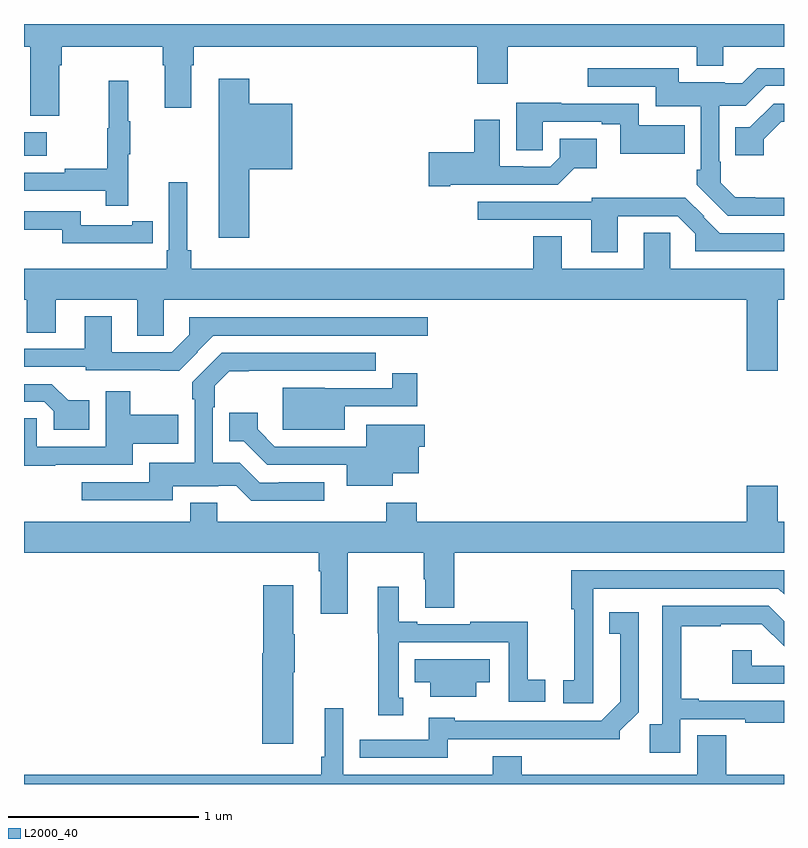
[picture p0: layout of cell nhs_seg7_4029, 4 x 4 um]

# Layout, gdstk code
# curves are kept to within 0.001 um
import gdstk
lib = gdstk.Library(unit=1e-6, precision=1e-09)
def R(c, l, rs):  # rectangles x0, y0, x1, y1
    for r in rs: c.add(gdstk.rectangle(r[:2], r[2:], *l))
def P(c, l, *ps):  # polygons
    for p in ps: c.add(gdstk.Polygon(p, *l))
L2000_40 = (2000, 40)

nhs_seg7_4029 = lib.new_cell('nhs_seg7_4029')
R(nhs_seg7_4029, L2000_40, [(365,1069.307,365.119,1069.429)])
P(nhs_seg7_4029, L2000_40, [(365.185,1069.784),(365.198,1069.784),(365.198,1069.88),(365.729,1069.88),(365.729,1069.784),(365.741,1069.784),(365.741,1069.56),(365.881,1069.56),(365.881,1069.784),(365.894,1069.784),(365.894,1069.88),(367.385,1069.88),(367.385,1069.686),(367.545,1069.686),(367.545,1069.88),(368.54,1069.88),(368.54,1069.781),(368.68,1069.781),(368.68,1069.88),(369,1069.88),(369,1070),(365,1070),(365,1069.88),(365.033,1069.88),(365.033,1069.518),(365.185,1069.518)],
  [(369,1069.086),(368.848,1069.086),(368.848,1069.089),(368.744,1069.089),(368.668,1069.164),(368.668,1069.276),(368.658,1069.276),(368.658,1069.569),(368.799,1069.569),(368.904,1069.674),(369,1069.674),(369,1069.768),(368.86,1069.768),(368.781,1069.689),(368.687,1069.689),(368.687,1069.693),(368.446,1069.693),(368.446,1069.767),(367.968,1069.767),(367.968,1069.671),(368.324,1069.671),(368.324,1069.568),(368.562,1069.568),(368.562,1069.234),(368.542,1069.234),(368.542,1069.153),(368.705,1068.99),(369,1068.99)],
  [(366.185,1069.235),(366.412,1069.235),(366.412,1069.579),(366.185,1069.579),(366.185,1069.711),(366.026,1069.711),(366.026,1068.876),(366.185,1068.876)],
  [(365.549,1069.315),(365.56,1069.315),(365.56,1069.489),(365.549,1069.489),(365.549,1069.702),(365.446,1069.702),(365.446,1069.452),(365.439,1069.452),(365.439,1069.238),(365.215,1069.238),(365.215,1069.218),(365,1069.218),(365,1069.122),(365.431,1069.122),(365.431,1069.044),(365.549,1069.044)],
  [(368.477,1069.468),(368.235,1069.468),(368.235,1069.581),(367.828,1069.581),(367.828,1069.586),(367.592,1069.586),(367.592,1069.336),(367.731,1069.336),(367.731,1069.485),(368.042,1069.485),(368.042,1069.473),(368.139,1069.473),(368.139,1069.316),(368.477,1069.316)],
  [(368.893,1069.393),(368.985,1069.485),(369,1069.485),(369,1069.581),(368.945,1069.581),(368.82,1069.456),(368.743,1069.456),(368.743,1069.308),(368.893,1069.308)],
  [(367.243,1069.155),(367.81,1069.155),(367.896,1069.241),(368.014,1069.241),(368.014,1069.396),(367.821,1069.396),(367.821,1069.299),(367.77,1069.248),(367.628,1069.248),(367.628,1069.251),(367.504,1069.251),(367.504,1069.495),(367.37,1069.495),(367.37,1069.325),(367.131,1069.325),(367.131,1069.147),(367.243,1069.147)],
  [(368.968,1068.548),(369,1068.548),(369,1068.712),(368.4,1068.712),(368.4,1068.902),(368.261,1068.902),(368.261,1068.712),(367.831,1068.712),(367.831,1068.884),(367.679,1068.884),(367.679,1068.712),(365.879,1068.712),(365.879,1068.808),(365.86,1068.808),(365.86,1069.168),(365.763,1069.168),(365.763,1068.808),(365.75,1068.808),(365.75,1068.712),(365,1068.712),(365,1068.548),(365.015,1068.548),(365.015,1068.376),(365.167,1068.376),(365.167,1068.548),(365.597,1068.548),(365.597,1068.358),(365.736,1068.358),(365.736,1068.548),(368.804,1068.548),(368.804,1068.174),(368.968,1068.174)],
  [(368.125,1068.987),(368.442,1068.987),(368.533,1068.897),(368.533,1068.804),(369,1068.804),(369,1068.9),(368.661,1068.9),(368.576,1068.985),(368.579,1068.988),(368.481,1069.086),(367.989,1069.086),(367.989,1069.065),(367.389,1069.065),(367.389,1068.969),(367.985,1068.969),(367.985,1068.798),(368.125,1068.798)],
  [(365.57,1068.846),(365.678,1068.846),(365.678,1068.962),(365.57,1068.962),(365.57,1068.942),(365.298,1068.942),(365.298,1069.014),(365,1069.014),(365,1068.918),(365.202,1068.918),(365.202,1068.845),(365.57,1068.845)],
  [(365.915,1068.272),(365.912,1068.275),(365.997,1068.36),(367.126,1068.36),(367.126,1068.456),(365.869,1068.456),(365.869,1068.364),(365.778,1068.273),(365.461,1068.273),(365.461,1068.463),(365.321,1068.463),(365.321,1068.291),(365,1068.291),(365,1068.195),(365.325,1068.195),(365.325,1068.177),(365.717,1068.177),(365.717,1068.175),(365.817,1068.175)],
  [(366.58,1067.589),(366.34,1067.589),(366.34,1067.586),(366.24,1067.586),(366.135,1067.691),(365.994,1067.691),(365.994,1067.984),(366.004,1067.984),(366.004,1068.096),(366.08,1068.172),(366.184,1068.172),(366.184,1068.174),(366.85,1068.174),(366.85,1068.27),(366.041,1068.27),(365.886,1068.115),(365.886,1068.026),(365.898,1068.026),(365.898,1067.692),(365.66,1067.692),(365.66,1067.589),(365.304,1067.589),(365.304,1067.493),(365.782,1067.493),(365.782,1067.567),(366.023,1067.567),(366.023,1067.571),(366.117,1067.571),(366.196,1067.492),(366.58,1067.492)],
  [(366.688,1067.988),(367.069,1067.988),(367.069,1068.163),(366.938,1068.163),(366.938,1068.084),(366.584,1068.084),(366.584,1068.085),(366.362,1068.085),(366.362,1067.864),(366.688,1067.864)],
  [(365.344,1068.019),(365.232,1068.019),(365.146,1068.105),(365,1068.105),(365,1068.012),(365.106,1068.012),(365.157,1067.961),(365.157,1067.864),(365.344,1067.864)],
  [(365.164,1067.679),(365.572,1067.679),(365.572,1067.792),(365.813,1067.792),(365.813,1067.944),(365.559,1067.944),(365.559,1068.067),(365.429,1068.067),(365.429,1067.775),(365.067,1067.775),(365.067,1067.924),(365,1067.924),(365,1067.674),(365.164,1067.674)],
  [(366.94,1067.636),(367.078,1067.636),(367.078,1067.776),(367.108,1067.776),(367.108,1067.89),(366.8,1067.89),(366.8,1067.775),(366.321,1067.775),(366.229,1067.867),(366.229,1067.953),(366.079,1067.953),(366.079,1067.804),(366.156,1067.804),(366.281,1067.679),(366.698,1067.679),(366.698,1067.57),(366.94,1067.57)],
  [(366.703,1067.216),(367.105,1067.216),(367.105,1067.078),(367.112,1067.078),(367.112,1066.927),(367.265,1066.927),(367.265,1067.216),(369,1067.216),(369,1067.38),(368.968,1067.38),(368.968,1067.569),(368.804,1067.569),(368.804,1067.38),(367.067,1067.38),(367.067,1067.479),(366.907,1067.479),(366.907,1067.38),(366.016,1067.38),(366.016,1067.479),(365.876,1067.479),(365.876,1067.38),(365,1067.38),(365,1067.216),(366.551,1067.216),(366.551,1067.12),(366.563,1067.12),(366.563,1066.896),(366.703,1066.896)],
  [(367.996,1066.7),(367.995,1067.028),(368.97,1067.028),(369,1066.998),(369,1067.124),(367.879,1067.124),(367.879,1066.921),(367.897,1066.921),(367.897,1066.545),(367.839,1066.545),(367.839,1066.425),(367.996,1066.425)],
  [(366.418,1066.589),(366.426,1066.589),(366.426,1066.789),(366.418,1066.789),(366.418,1067.047),(366.26,1067.047),(366.26,1066.689),(366.254,1066.689),(366.254,1066.212),(366.418,1066.212)],
  [(366.997,1066.455),(366.972,1066.455),(366.972,1066.746),(367.551,1066.746),(367.551,1066.434),(367.744,1066.434),(367.744,1066.55),(367.65,1066.55),(367.65,1066.855),(367.348,1066.855),(367.348,1066.842),(367.069,1066.842),(367.069,1066.855),(366.973,1066.855),(366.973,1067.038),(366.863,1067.038),(366.863,1066.793),(366.864,1066.793),(366.864,1066.361),(366.997,1066.361)],
  [(368.454,1066.341),(368.795,1066.341),(368.795,1066.322),(369,1066.322),(369,1066.437),(368.551,1066.437),(368.551,1066.45),(368.459,1066.45),(368.459,1066.83),(368.666,1066.83),(368.666,1066.841),(368.884,1066.841),(369,1066.725),(369,1066.857),(368.919,1066.938),(368.358,1066.938),(368.358,1066.315),(368.293,1066.315),(368.293,1066.164),(368.454,1066.164)],
  [(367.23,1066.236),(368.136,1066.235),(368.136,1066.279),(368.235,1066.378),(368.235,1066.903),(368.08,1066.903),(368.08,1066.79),(368.138,1066.79),(368.138,1066.433),(368.037,1066.332),(367.266,1066.332),(367.266,1066.348),(367.13,1066.348),(367.13,1066.233),(366.766,1066.233),(366.766,1066.137),(367.23,1066.137)],
  [(369,1066.623),(368.829,1066.623),(368.829,1066.705),(368.728,1066.705),(368.728,1066.527),(369,1066.527)],
  [(367.381,1066.535),(367.45,1066.535),(367.45,1066.657),(367.057,1066.657),(367.057,1066.535),(367.139,1066.535),(367.139,1066.46),(367.381,1066.46)],
  [(369,1066.048),(368.696,1066.048),(368.696,1066.256),(368.543,1066.256),(368.543,1066.048),(367.619,1066.048),(367.619,1066.147),(367.466,1066.147),(367.466,1066.048),(366.681,1066.048),(366.681,1066.399),(366.584,1066.399),(366.584,1066.144),(366.565,1066.144),(366.565,1066.048),(365,1066.048),(365,1066),(369,1066)])

lib.write_gds('nhs_seg7_4029.gds')
